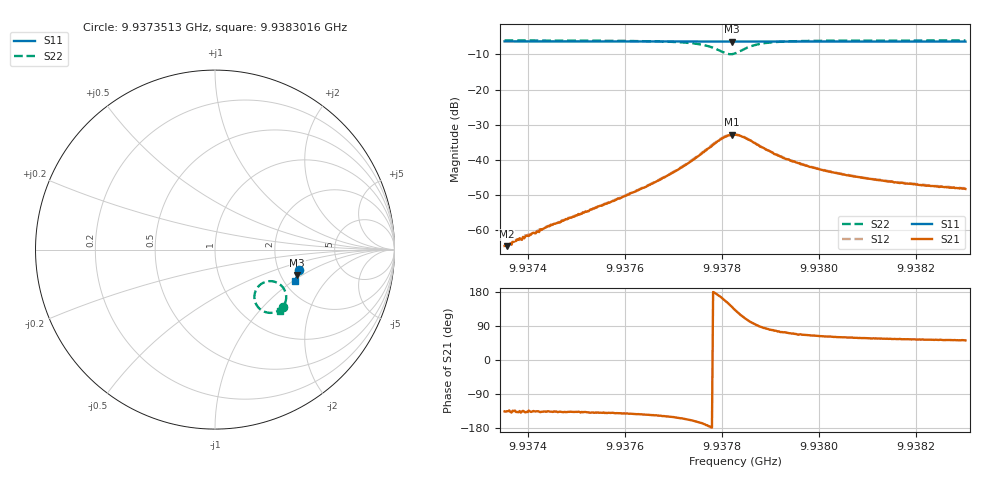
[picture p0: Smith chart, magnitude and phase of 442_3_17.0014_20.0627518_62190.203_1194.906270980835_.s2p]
#  HZ  S  RI  R  50.00
! Rohde & Schwarz Vector Network Analyzer
! Rohde-Schwarz,ZNB20-2Port,1311601062101988,3.16
! Created: UTC 3/20/2024, 11:11:55 PM
! freq[Hz]  re:S11  im:S11  re:S21  im:S21  re:S12  im:S12  re:S22  im:S22
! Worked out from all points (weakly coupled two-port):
!   401 points, 9.9373513 GHz to 9.9383016 GHz, reference 50 ohm
!   highest |S21| = -32.79 dB at 9.9378193 GHz (marker M1); lowest = -64.5 dB at 9.937356 GHz (marker M2)
!   lowest |S11| = -6.4 dB at 9.9378193 GHz (marker M3), VSWR 2.84, Z = 123 - j44.9 ohm
!   |S11| at or under -10 dB: nowhere
!   |S22| runs from -10.0 to -6.1 dB; largest |S21 - S12| = 0.001
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9.93735126e9  0.4703 -0.112  -0.000429 -0.000419  -0.000448 -0.000414  0.381 -0.3202
9.93735601e9  0.4702 -0.1123  -0.000421 -0.00042  -0.000461 -0.000414  0.3805 -0.3204
9.93737264e9  0.4697 -0.1133  -0.000486 -0.000512  -0.000522 -0.000503  0.3793 -0.3219
9.9373964e9  0.4694 -0.1149  -0.000613 -0.000574  -0.000607 -0.000587  0.3772 -0.3233
9.93741779e9  0.4688 -0.1164  -0.000684 -0.000673  -0.000721 -0.000664  0.3754 -0.3251
9.93744392e9  0.4682 -0.118  -0.000824 -0.000793  -0.000842 -0.00078  0.3729 -0.3271
9.93751045e9  0.4668 -0.1227  -0.00125 -0.00117  -0.00133 -0.00114  0.3657 -0.3329
9.93760311e9  0.4647 -0.1288  -0.00243 -0.00198  -0.00253 -0.00196  0.3508 -0.3419
9.93766964e9  0.463 -0.1333  -0.0043 -0.00282  -0.00442 -0.0028  0.332 -0.3495
9.93772191e9  0.4614 -0.1369  -0.0075 -0.00344  -0.0077 -0.00339  0.3031 -0.3522
9.93776467e9  0.4598 -0.1398  -0.0133 -0.00231  -0.0135 -0.00213  0.2579 -0.3369
9.93779794e9  0.458 -0.1411  -0.0192 0.00497  -0.0194 0.00562  0.2199 -0.2712
9.93780982e9  0.4577 -0.1411  -0.0193 0.00998  -0.0194 0.0108  0.2258 -0.2311
9.93781932e9  0.4574 -0.1412  -0.0179 0.0144  -0.0175 0.0151  0.2457 -0.2012
9.93782645e9  0.4575 -0.1414  -0.0152 0.0169  -0.015 0.0176  0.2677 -0.1855
9.93784546e9  0.4579 -0.1422  -0.00768 0.0195  -0.00715 0.0199  0.3308 -0.1789
9.93787872e9  0.458 -0.1445  0.000558 0.0154  0.0008 0.0156  0.3861 -0.2227
9.93792861e9  0.4574 -0.1482  0.00302 0.0101  0.00339 0.0101  0.3966 -0.2712
9.93798564e9  0.4559 -0.1523  0.00336 0.00707  0.00353 0.0071  0.3904 -0.2975
9.93805216e9  0.4542 -0.1568  0.00312 0.00534  0.00325 0.00535  0.3829 -0.3138
9.93814483e9  0.4517 -0.1628  0.00277 0.0041  0.00286 0.00408  0.3735 -0.3273
9.93830164e9  0.4473 -0.1728  0.00239 0.00304  0.00247 0.00307  0.3612 -0.3417
